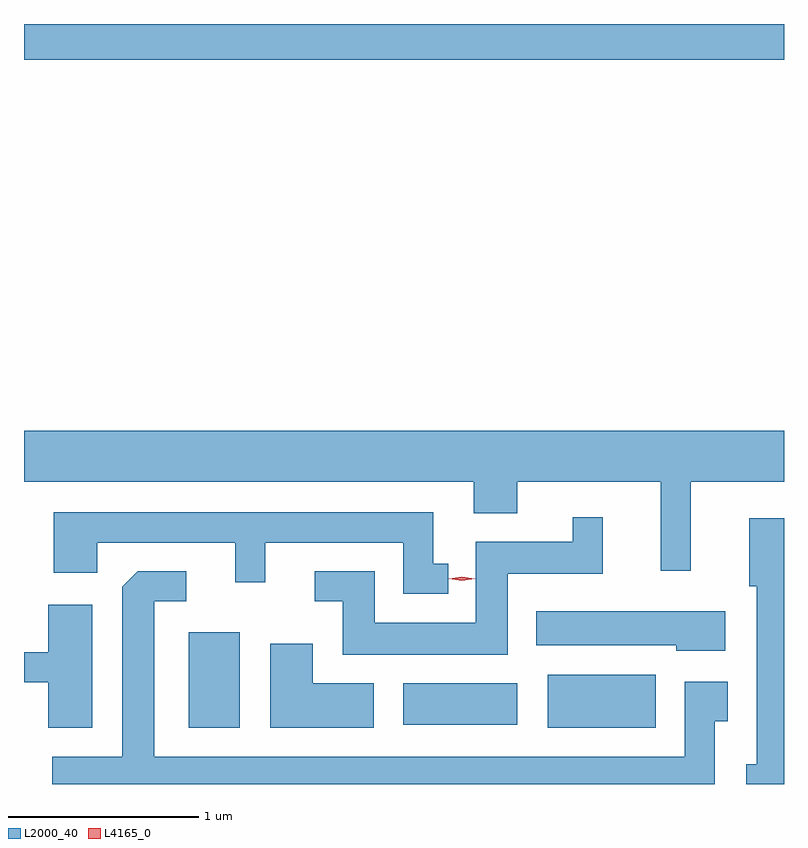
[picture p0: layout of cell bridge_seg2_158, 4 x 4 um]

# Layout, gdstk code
import gdstk
lib = gdstk.Library(unit=1e-6, precision=1e-09)
def R(c, l, rs):  # rectangles x0, y0, x1, y1
    for r in rs: c.add(gdstk.rectangle(r[:2], r[2:], *l))
def P(c, l, *ps):  # polygons
    for p in ps: c.add(gdstk.Polygon(p, *l))
L2000_40 = (2000, 40)
L4165_0 = (4165, 0)

bridge_seg2_158 = lib.new_cell('bridge_seg2_158')
R(bridge_seg2_158, L2000_40, [(681.121,1055.901,681.389,1056.404), (683.011,1055.901,683.579,1056.179), (682.251,1055.916,682.849,1056.134), (680.254,1059.416,684.254,1059.605)])
P(bridge_seg2_158, L2000_40, [(683.764,1057.196),(684.254,1057.196),(684.254,1057.464),(680.254,1057.464),(680.254,1057.196),(682.621,1057.196),(682.621,1057.031),(682.849,1057.031),(682.849,1057.196),(683.606,1057.196),(683.606,1056.728),(683.764,1056.728)],
  [(682.488,1056.764),(682.409,1056.764),(682.409,1057.034),(680.411,1057.034),(680.411,1056.716),(680.639,1056.716),(680.639,1056.876),(681.366,1056.876),(681.366,1056.668),(681.524,1056.668),(681.524,1056.876),(682.251,1056.876),(682.251,1056.606),(682.488,1056.606)],
  [(682.799,1056.711),(683.299,1056.711),(683.299,1057.008),(683.141,1057.008),(683.141,1056.879),(682.631,1056.879),(682.631,1056.454),(682.099,1056.454),(682.099,1056.724),(681.783,1056.724),(681.783,1056.566),(681.931,1056.566),(681.931,1056.286),(682.799,1056.286)],
  [(684.254,1057.004),(684.071,1057.004),(684.071,1056.646),(684.111,1056.646),(684.111,1055.709),(684.056,1055.709),(684.056,1055.605),(684.254,1055.605)],
  [(683.889,1055.936),(683.959,1055.936),(683.959,1056.144),(683.731,1056.144),(683.731,1055.749),(680.939,1055.749),(680.939,1056.566),(681.108,1056.566),(681.108,1056.724),(680.852,1056.724),(680.771,1056.644),(680.771,1055.749),(680.403,1055.749),(680.403,1055.605),(683.889,1055.605)],
  [(680.614,1056.549),(680.381,1056.549),(680.381,1056.299),(680.254,1056.299),(680.254,1056.141),(680.381,1056.141),(680.381,1055.901),(680.614,1055.901)],
  [(683.944,1056.514),(682.951,1056.514),(682.951,1056.336),(683.686,1056.336),(683.686,1056.306),(683.944,1056.306)],
  [(682.094,1056.134),(681.774,1056.134),(681.774,1056.344),(681.551,1056.344),(681.551,1055.901),(682.094,1055.901)])
P(bridge_seg2_158, L4165_0, [(682.558,1056.675),(682.489,1056.684),(682.489,1056.685),(682.489,1056.686),(682.558,1056.695),(682.628,1056.686),(682.628,1056.685),(682.628,1056.684)])

lib.write_gds('bridge_seg2_158.gds')
